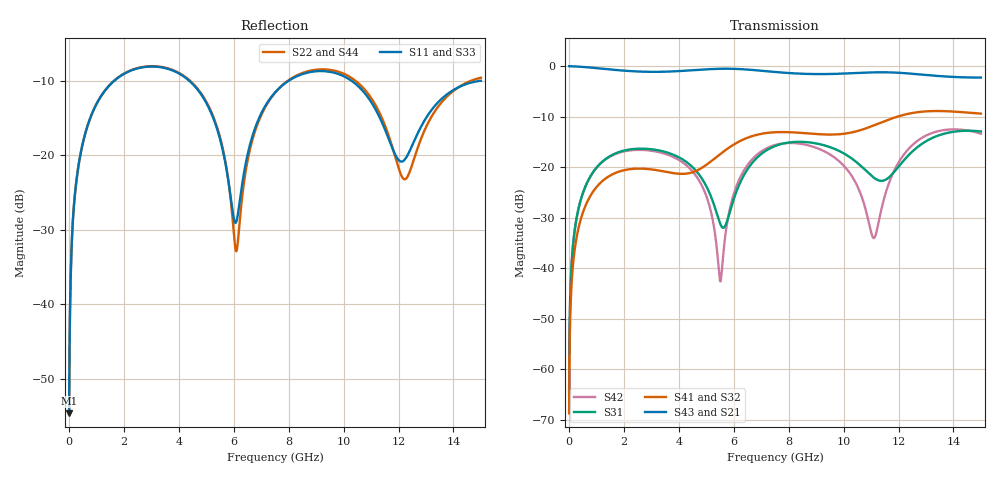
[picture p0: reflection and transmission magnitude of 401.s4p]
! Created with skrf 1.8.0 (http://scikit-rf.org).
# GHz S RI R 50.0
!freq ReS11 ImS11 ReS12 ImS12 ReS13 ImS13
! ReS14 ImS14
! ReS21 ImS21 ReS22 ImS22 ReS23 ImS23
! ReS24 ImS24
! ReS31 ImS31 ReS32 ImS32 ReS33 ImS33
! ReS34 ImS34
! ReS41 ImS41 ReS42 ImS42 ReS43 ImS43
! ReS44 ImS44
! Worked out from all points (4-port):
!   2499 points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, 5 MHz to 15 GHz, reference 50 ohm
!   strongest paths, dB at 5 MHz, 3.476 GHz, 7.19 GHz, 11.1 GHz, 15 GHz:
!     S43: 0.0, -1.1, -1.0, -1.2, -2.3
!     S21: 0.0, -1.1, -1.0, -1.2, -2.3
!     S41: -68.8, -20.9, -13.2, -11.7, -9.4
!     S32: -68.8, -21.0, -13.3, -11.7, -9.5
!     S31: -64.9, -17.0, -16.7, -22.1, -12.9
!     S42: -64.9, -17.3, -16.3, -34.1, -13.4
!   lowest |S11| = -54.6 dB at 5 MHz (marker M1), VSWR 1.00, Z = 50.1 + j0.113 ohm
!   |S11| at or under -10 dB: start of sweep to 1.641 GHz; 4.387 GHz to 7.987 GHz (3.6 GHz wide, 58.2 % of centre); 10.3 GHz to 14.95 GHz (4.647 GHz wide, 36.8 % of centre)
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0.005  0.00148 0.00113  0.9985 -0.00288  7.32e-05 0.000566  -7.12e-05 -0.000358
       0.9985 -0.00288  0.00148 0.00113  -7.12e-05 -0.000358  7.31e-05 0.000566
       7.32e-05 0.000566  -7.12e-05 -0.000358  0.00148 0.00113  0.9985 -0.00288
       -7.12e-05 -0.000358  7.31e-05 0.000566  0.9985 -0.00288  0.00148 0.00113
0.3126303  0.0202 0.0748  0.9725 -0.18  0.00904 0.0339  -0.00741 -0.0214
           0.9725 -0.18  0.0202 0.0748  -0.00739 -0.0214  0.00864 0.034
           0.00904 0.0339  -0.00739 -0.0214  0.0202 0.0748  0.9725 -0.18
           -0.00741 -0.0214  0.00864 0.034  0.9725 -0.18  0.0202 0.0748
1.519383  0.2328 0.1913  0.6259 -0.6813  0.1124 0.0645  -0.0811 -0.0181
          0.6259 -0.6813  0.2346 0.1903  -0.0809 -0.0183  0.1068 0.0707
          0.1124 0.0645  -0.0809 -0.0183  0.2329 0.1912  0.6259 -0.6813
          -0.0811 -0.0181  0.1068 0.0707  0.6259 -0.6813  0.2345 0.1903
5.883702  0.0376 -0.0376  -0.9284 -0.1546  -0.0202 0.0322  -0.0213 0.1581
          -0.9284 -0.1546  0.0255 -0.0448  -0.0254 0.1576  0.00937 0.0404
          -0.0202 0.0322  -0.0254 0.1576  0.0365 -0.0371  -0.9284 -0.1547
          -0.0213 0.1581  0.00937 0.0404  -0.9284 -0.1547  0.0263 -0.0443
9.453939  0.3634 -0.0362  0.0275 0.8342  0.1166 -0.1087  0.199 -0.0672
          0.0275 0.8342  0.3737 -0.045  0.1994 -0.0581  0.1191 -0.0656
          0.1166 -0.1087  0.1994 -0.0581  0.3639 -0.038  0.0269 0.8345
          0.199 -0.0672  0.1191 -0.0656  0.0269 0.8345  0.3719 -0.043
11.10463  0.1658 -0.1338  0.6551 0.5676  -0.0597 -0.051  0.16 -0.2037
          0.6551 0.5676  0.1608 -0.1603  0.1703 -0.1952  -0.0184 -0.00726
          -0.0597 -0.051  0.1703 -0.1952  0.1626 -0.1348  0.655 0.5683
          0.16 -0.2037  -0.0184 -0.00726  0.655 0.5683  0.1619 -0.1579
15  0.3168 0.0145  0.2553 -0.7259  0.2099 -0.082  -0.338 -0.0195
    0.2553 -0.7259  0.3315 0.0213  -0.3308 -0.0399  0.2089 -0.047
    0.2099 -0.082  -0.3308 -0.0399  0.3217 0.0103  0.2575 -0.7257
    -0.338 -0.0195  0.2089 -0.047  0.2575 -0.7257  0.3241 0.0259
